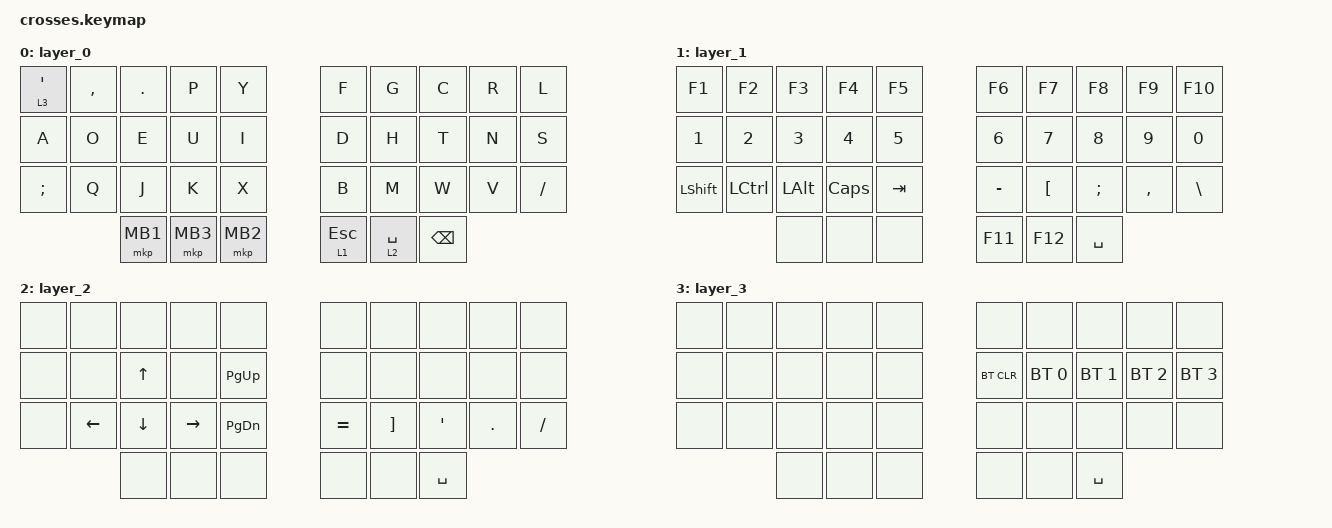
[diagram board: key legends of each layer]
#include <behaviors.dtsi>
#include <dt-bindings/zmk/bt.h>
#include <dt-bindings/zmk/keys.h>
#include <dt-bindings/zmk/pointing.h>

&lt {
    tapping-term-ms = <200>;
    flavor = "balanced";
    quick-tap-ms = <150>;
};

/ {
    keymap {
        compatible = "zmk,keymap";

        layer_0 {
            bindings = <
&lt 3 SQT      &kp COMMA  &kp PERIOD  &kp P     &kp Y       &kp F         &kp G        &kp C          &kp R  &kp L
&kp A          &kp O      &kp E       &kp U     &kp I       &kp D         &kp H        &kp T          &kp N  &kp S
&kp SEMICOLON  &kp Q      &kp J       &kp K     &kp X       &kp B         &kp M        &kp W          &kp V  &kp FSLH
                          &mkp MB1    &mkp MB3  &mkp MB2    &lt 1 ESCAPE  &lt 2 SPACE  &kp BACKSPACE
            >;
        };

        layer_1 {
            bindings = <
&kp F1          &kp F2     &kp F3        &kp F4    &kp F5     &kp F6     &kp F7            &kp F8         &kp F9     &kp F10
&kp N1          &kp N2     &kp N3        &kp N4    &kp N5     &kp N6     &kp N7            &kp N8         &kp N9     &kp N0
&kp LEFT_SHIFT  &kp LCTRL  &kp LEFT_ALT  &kp CAPS  &kp TAB    &kp MINUS  &kp LEFT_BRACKET  &kp SEMICOLON  &kp COMMA  &kp BACKSLASH
                           &none         &none     &none      &kp F11    &kp F12           &kp SPACE
            >;
        };

        layer_2 {
            bindings = <
&none  &none           &none           &none            &none            &none      &none     &none      &none       &none
&none  &none           &kp UP_ARROW    &none            &kp PAGE_UP      &none      &none     &none      &none       &none
&none  &kp LEFT_ARROW  &kp DOWN_ARROW  &kp RIGHT_ARROW  &kp PAGE_DOWN    &kp EQUAL  &kp RBKT  &kp SQT    &kp PERIOD  &kp SLASH
                       &none           &none            &none            &none      &none     &kp SPACE
            >;
        };

        layer_3 {
            bindings = <
&none  &none  &none  &none  &none    &none       &none         &none         &none         &none
&none  &none  &none  &none  &none    &bt BT_CLR  &bt BT_SEL 0  &bt BT_SEL 1  &bt BT_SEL 2  &bt BT_SEL 3
&none  &none  &none  &none  &none    &none       &none         &none         &none         &none
              &none  &none  &none    &none       &none         &kp SPACE
            >;
        };

        /* layer_2 {
            bindings = <
&none  &none   &none    &none   &none         &none         &kp N1         &none         &none     &none  &none   &to 0
&none  &none   &none    &none   &none         &none         &none         &none          &rgb_ug RGB_BRD &rgb_ug RGB_BRI  &rgb_ug RGB_EFF   &rgb_ug RGB_TOG
&none  &none   &none    &none   &none         &none         &none         &mkp LCLK     &mkp RCLK  &none  &none   &none
&none  &none   &none    &none   &bt BT_NXT  &bt BT_CLR    &none         &none         &none     &none  &none   &none
                                   &none         &none         &none         &none         &none
                                                 &none         &none         &none
            >;
       
            
        };

       Mouse {
            bindings = <
&none        &none         &none         &none         &none      &none         &none       &none      &none         &none         &none         &none
&none        &bt BT_SEL 0  &bt BT_SEL 1  &bt BT_SEL 3  &none      &bt BT_CLR    &bt BT_CLR  &none      &bt BT_SEL 2  &bt BT_SEL 1  &bt BT_SEL 0  &none
&none        &trans        &trans        &mkp MCLK     &trans     &none         &none       &trans     &mkp MCLK     &trans        &trans        &none
&bootloader  &trans        &mkp RCLK     &mo 4         &mkp LCLK  &mo 5         &mo 5       &mkp LCLK  &mo 4         &mkp RCLK     &trans        &bootloader
                                         &mo 5         &mkp LCLK  &mkp RCLK     &mkp RCLK   &mkp LCLK
                                                       &none      &trans        &trans
            >;

            
        };

        layer_4 {
            bindings = <
&trans  &trans  &trans     &trans     &trans     &trans       &trans     &trans     &trans     &trans     &trans  &trans
&trans  &trans  &trans     &trans     &trans     &trans       &trans     &trans     &trans     &trans     &trans  &trans
&trans  &trans  &trans     &mkp MCLK  &trans     &trans       &trans     &trans     &mkp MCLK  &trans     &trans  &trans
&trans  &trans  &mkp RCLK  &trans     &mkp LCLK  &trans       &trans     &mkp LCLK  &trans     &mkp RCLK  &trans  &trans
                           &trans     &mkp LCLK  &mkp RCLK    &mkp RCLK  &mkp LCLK
                                      &trans     &trans       &trans
            >;
                
                
               
        };

        layer_5 {
            bindings = <
&trans  &trans  &trans     &trans     &trans     &trans       &trans     &trans     &trans     &trans     &trans  &trans
&trans  &trans  &trans     &trans     &trans     &trans       &trans     &trans     &trans     &trans     &trans  &trans
&trans  &trans  &trans     &mkp MCLK  &trans     &trans       &trans     &trans     &mkp MCLK  &trans     &trans  &trans
&trans  &trans  &mkp RCLK  &trans     &mkp LCLK  &trans       &trans     &mkp LCLK  &trans     &mkp RCLK  &trans  &trans
                           &trans     &mkp LCLK  &mkp RCLK    &mkp RCLK  &mkp LCLK
                                      &trans     &trans       &trans
            >;
                
                
        };*/
    };
};
